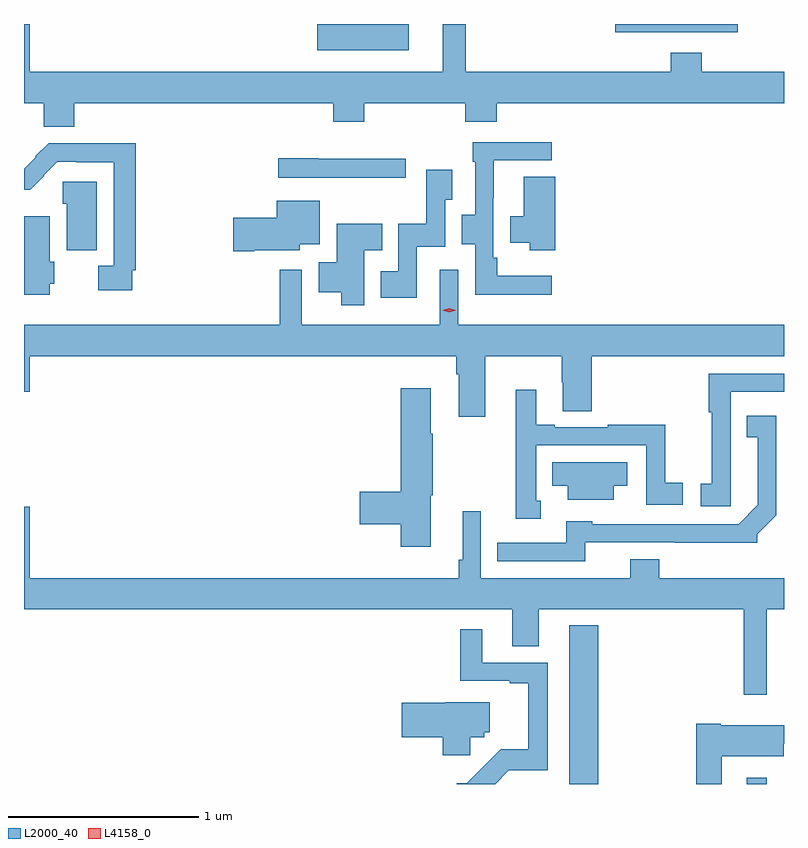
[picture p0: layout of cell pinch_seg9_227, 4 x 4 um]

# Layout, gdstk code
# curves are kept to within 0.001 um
import gdstk
lib = gdstk.Library(unit=1e-6, precision=1e-09)
def R(c, l, rs):  # rectangles x0, y0, x1, y1
    for r in rs: c.add(gdstk.rectangle(r[:2], r[2:], *l))
def P(c, l, *ps):  # polygons
    for p in ps: c.add(gdstk.Polygon(p, *l))
L2000_40 = (2000, 40)
L4158_0 = (4158, 0)

pinch_seg9_227 = lib.new_cell('pinch_seg9_227')
R(pinch_seg9_227, L2000_40, [(503.675,1238.124,503.828,1238.959), (504.611,1238.124,504.715,1238.158), (502.35,1241.987,502.831,1242.124), (503.919,1242.081,504.562,1242.124)])
P(pinch_seg9_227, L2000_40, [(501.07,1241.708),(502.433,1241.708),(502.433,1241.609),(502.598,1241.609),(502.598,1241.708),(503.129,1241.708),(503.129,1241.609),(503.294,1241.609),(503.294,1241.708),(504.806,1241.708),(504.806,1241.872),(504.374,1241.872),(504.374,1241.974),(504.209,1241.974),(504.209,1241.872),(503.131,1241.872),(503.131,1242.124),(503.009,1242.124),(503.009,1241.872),(500.836,1241.872),(500.836,1242.124),(500.806,1242.124),(500.806,1241.708),(500.909,1241.708),(500.909,1241.582),(501.07,1241.582)],
  [(503.584,1240.798),(503.297,1240.798),(503.297,1240.894),(503.277,1240.894),(503.277,1241.209),(503.278,1241.209),(503.278,1241.406),(503.584,1241.406),(503.584,1241.502),(503.169,1241.502),(503.169,1241.399),(503.181,1241.399),(503.181,1241.121),(503.111,1241.121),(503.111,1240.966),(503.181,1240.966),(503.181,1240.7),(503.584,1240.7)],
  [(501.375,1240.828),(501.395,1240.828),(501.395,1241.497),(500.935,1241.497),(500.865,1241.427),(500.869,1241.423),(500.806,1241.361),(500.806,1241.252),(500.839,1241.252),(500.913,1241.325),(500.91,1241.328),(500.982,1241.4),(501.082,1241.4),(501.082,1241.396),(501.279,1241.396),(501.279,1240.852),(501.196,1240.852),(501.196,1240.724),(501.375,1240.724)],
  [(502.816,1241.414),(502.355,1241.414),(502.355,1241.417),(502.143,1241.417),(502.143,1241.316),(502.459,1241.316),(502.459,1241.314),(502.816,1241.314)],
  [(502.872,1240.952),(503.022,1240.952),(503.022,1241.2),(503.059,1241.2),(503.059,1241.356),(502.924,1241.356),(502.924,1241.074),(502.776,1241.074),(502.776,1240.822),(502.683,1240.822),(502.683,1240.682),(502.872,1240.682)],
  [(503.603,1241.321),(503.435,1241.321),(503.435,1241.113),(503.366,1241.113),(503.366,1240.973),(503.468,1240.973),(503.468,1240.934),(503.603,1240.934)],
  [(501.19,1241.295),(501.009,1241.295),(501.009,1241.178),(501.032,1241.178),(501.032,1240.933),(501.19,1240.933)],
  [(502.018,1240.934),(502.258,1240.934),(502.258,1240.964),(502.363,1240.964),(502.363,1241.194),(502.136,1241.194),(502.136,1241.105),(501.906,1241.105),(501.906,1240.927),(502.018,1240.927)],
  [(500.941,1240.758),(500.965,1240.758),(500.965,1240.872),(500.941,1240.872),(500.941,1241.113),(500.806,1241.113),(500.806,1240.698),(500.941,1240.698)],
  [(502.597,1240.934),(502.691,1240.934),(502.691,1241.074),(502.451,1241.074),(502.451,1240.87),(502.358,1240.87),(502.358,1240.712),(502.475,1240.712),(502.475,1240.644),(502.597,1240.644)],
  [(503.233,1240.376),(503.635,1240.376),(503.635,1240.238),(503.642,1240.238),(503.642,1240.087),(503.795,1240.087),(503.795,1240.376),(504.806,1240.376),(504.806,1240.54),(503.091,1240.54),(503.091,1240.831),(502.995,1240.831),(502.995,1240.54),(502.269,1240.54),(502.269,1240.831),(502.153,1240.831),(502.153,1240.54),(500.806,1240.54),(500.806,1240.188),(500.836,1240.188),(500.836,1240.376),(503.081,1240.376),(503.081,1240.28),(503.093,1240.28),(503.093,1240.056),(503.233,1240.056)],
  [(504.526,1239.86),(504.525,1239.86),(504.525,1240.188),(504.806,1240.188),(504.806,1240.284),(504.409,1240.284),(504.409,1240.081),(504.427,1240.081),(504.427,1239.705),(504.369,1239.705),(504.369,1239.585),(504.526,1239.585)],
  [(502.948,1239.645),(502.956,1239.645),(502.956,1239.968),(502.948,1239.968),(502.948,1240.207),(502.79,1240.207),(502.79,1239.662),(502.572,1239.662),(502.572,1239.491),(502.79,1239.491),(502.79,1239.372),(502.948,1239.372)],
  [(503.527,1239.615),(503.502,1239.615),(503.502,1239.906),(504.081,1239.906),(504.081,1239.594),(504.274,1239.594),(504.274,1239.71),(504.18,1239.71),(504.18,1240.015),(503.878,1240.015),(503.878,1240.002),(503.599,1240.002),(503.599,1240.015),(503.503,1240.015),(503.503,1240.198),(503.393,1240.198),(503.393,1239.953),(503.394,1239.953),(503.394,1239.521),(503.527,1239.521)],
  [(503.76,1239.396),(504.666,1239.395),(504.666,1239.439),(504.765,1239.538),(504.765,1240.063),(504.61,1240.063),(504.61,1239.95),(504.668,1239.95),(504.668,1239.593),(504.567,1239.492),(503.796,1239.492),(503.796,1239.508),(503.66,1239.508),(503.66,1239.393),(503.296,1239.393),(503.296,1239.297),(503.76,1239.297)],
  [(503.911,1239.695),(503.98,1239.695),(503.98,1239.817),(503.587,1239.817),(503.587,1239.695),(503.669,1239.695),(503.669,1239.62),(503.911,1239.62)],
  [(504.715,1239.044),(504.806,1239.044),(504.806,1239.208),(504.149,1239.208),(504.149,1239.307),(503.996,1239.307),(503.996,1239.208),(503.211,1239.208),(503.211,1239.559),(503.114,1239.559),(503.114,1239.304),(503.095,1239.304),(503.095,1239.208),(500.836,1239.208),(500.836,1239.583),(500.806,1239.583),(500.806,1239.044),(503.375,1239.044),(503.375,1238.85),(503.515,1238.85),(503.515,1239.044),(504.594,1239.044),(504.594,1238.595),(504.715,1238.595)],
  [(503.358,1238.196),(503.563,1238.196),(503.563,1238.763),(503.218,1238.763),(503.218,1238.938),(503.101,1238.938),(503.101,1238.667),(503.363,1238.667),(503.363,1238.655),(503.459,1238.655),(503.459,1238.306),(503.315,1238.306),(503.137,1238.128),(503.084,1238.128),(503.084,1238.124),(503.286,1238.124)],
  [(503.154,1238.37),(503.229,1238.37),(503.229,1238.397),(503.257,1238.397),(503.257,1238.554),(503.025,1238.554),(503.025,1238.552),(502.794,1238.552),(502.794,1238.369),(503.009,1238.369),(503.009,1238.276),(503.154,1238.276)],
  [(504.478,1238.27),(504.805,1238.27),(504.805,1238.337),(504.806,1238.337),(504.806,1238.433),(504.801,1238.433),(504.801,1238.434),(504.474,1238.434),(504.474,1238.441),(504.344,1238.441),(504.344,1238.124),(504.478,1238.124)])
P(pinch_seg9_227, L4158_0, [(503.043,1240.607),(503.008,1240.617),(503.008,1240.617),(503.008,1240.617),(503.043,1240.627),(503.078,1240.617),(503.079,1240.617),(503.078,1240.617)])

lib.write_gds('pinch_seg9_227.gds')
